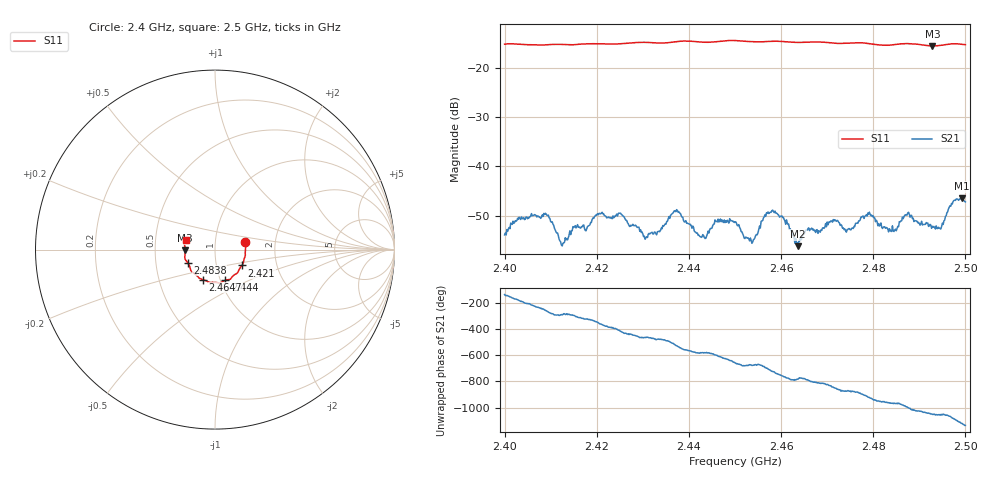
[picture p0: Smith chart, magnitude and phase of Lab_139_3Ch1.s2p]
# Hz S RI R 50
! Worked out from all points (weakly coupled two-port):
!   601 points, 2.4 GHz to 2.5 GHz, reference 50 ohm
!   highest |S21| = -46.42 dB at 2.4992 GHz (marker M1); lowest = -56.1 dB at 2.4637 GHz (marker M2)
!   lowest |S11| = -15.6 dB at 2.4928 GHz (marker M3), VSWR 1.40, Z = 35.8 - j0.344 ohm
!   |S11| at or under -10 dB: start of sweep to end of sweep
!   S12 and S22 are empty: the file has one direction only
!   S11 on the Smith chart (normalised r, x): 2.4 GHz: 1.40, +0.12; 2.421 GHz: 1.33, -0.24; 2.444 GHz: 1.06, -0.37; 2.4647 GHz: 0.83, -0.29; 2.4838 GHz: 0.73, -0.11; 2.5 GHz: 0.72, +0.08
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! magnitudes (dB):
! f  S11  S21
! 2.4 GHz  -15.3  -53.8
! 2.4063 GHz  -15.4  -49.9
! 2.4093 GHz  -15.4  -49.9
! 2.4125 GHz  -15.3  -56.1
! 2.4167 GHz  -15.2  -52.2
! 2.421 GHz  -15.2  -49.5
! 2.4333 GHz  -15.0  -53.2
! 2.4373 GHz  -14.7  -48.7
! 2.444 GHz  -14.9  -53.7
! 2.45 GHz  -14.5  -51.2
! 2.4537 GHz  -14.8  -55.5
! 2.4585 GHz  -14.7  -49.3
! 2.4637 GHz  -14.9  -56.1
! 2.4647 GHz  -14.9  -54.0
! 2.4667 GHz  -14.8  -52.5
! 2.479 GHz  -15.1  -49.7
! 2.4833 GHz  -15.5  -53.2
! 2.4838 GHz  -15.4  -53.1
! 2.4873 GHz  -15.1  -49.8
! 2.4928 GHz  -15.6  -52.1
! 2.4992 GHz  -15.3  -46.4
! 2.5 GHz  -15.4  -47.2
